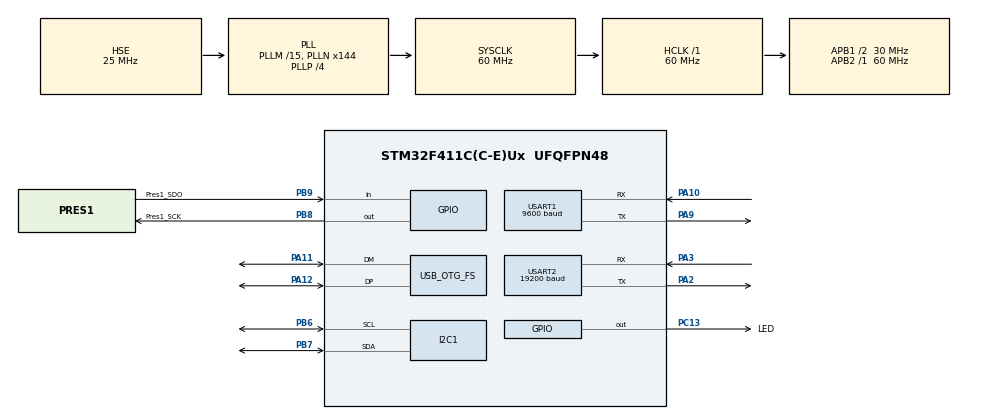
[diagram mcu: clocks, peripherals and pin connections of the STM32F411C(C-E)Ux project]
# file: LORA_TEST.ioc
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Mcu.Family=STM32F4
PC15-OSC32_OUT.Mode=LSE-External-Oscillator
USB_DEVICE.CLASS_NAME_FS=CDC
RCC.CortexFreq_Value=60000000
PB9.GPIO_Label=Pres1_SDO
PA10.Mode=Asynchronous
USB_DEVICE.VirtualModeFS=Cdc_FS
PC13-ANTI_TAMP.GPIO_Label=LED
USART1.BaudRate=9600
PH1\ -\ OSC_OUT.Mode=HSE-External-Oscillator
PB8.GPIO_PuPd=GPIO_PULLUP
VP_RTC_VS_RTC_Activate.Mode=RTC_Enabled
PA11.Mode=Device_Only
RCC.APB1CLKDivider=RCC_HCLK_DIV2
PC14-OSC32_IN.Signal=RCC_OSC32_IN
NVIC.USART2_IRQn=true\:0\:0\:false\:false\:true\:true\:true
USART2.BaudRate=19200
RCC.SYSCLKSource=RCC_SYSCLKSOURCE_PLLCLK
ProjectManager.StackSize=0x400
PA3.Mode=Asynchronous
PB8.GPIO_Label=Pres1_SCK
PA9.Mode=Asynchronous
PA12.Signal=USB_OTG_FS_DP
PH0\ -\ OSC_IN.Mode=HSE-External-Oscillator
TIM1.Prescaler=72-1
PH0\ -\ OSC_IN.Signal=RCC_OSC_IN
ProjectManager.TargetToolchain=STM32CubeIDE
USB_DEVICE.PRODUCT_STRING_CDC_FS=Widya_Imersif
RCC.RCC_RTC_Clock_Source=RCC_RTCCLKSOURCE_LSE
RCC.HCLKFreq_Value=60000000
VP_USB_DEVICE_VS_USB_DEVICE_CDC_FS.Mode=CDC_FS
RCC.APB2TimFreq_Value=60000000
PA9.Signal=USART1_TX
PB6.Signal=I2C1_SCL
PB6.Mode=I2C
PC15-OSC32_OUT.Signal=RCC_OSC32_OUT
RCC.AHBFreq_Value=60000000
RCC.HSE_VALUE=25000000
RCC.MSICalibrationValue=0
PH1\ -\ OSC_OUT.Signal=RCC_OSC_OUT
board=custom
PC13-ANTI_TAMP.Signal=GPIO_Output
RCC.VCOOutputFreq_Value=240000000
RCC.APB2Freq_Value=60000000
PC14-OSC32_IN.Mode=LSE-External-Oscillator
RCC.LSE_Drive_Capability=RCC_LSEDRIVE_LOW
PB8.PinState=GPIO_PIN_RESET
RCC.RCC_RTC_Clock_SourceVirtual=RCC_RTCCLKSOURCE_LSE
PB7.Signal=I2C1_SDA
USB_OTG_FS.Sof_enable=ENABLE
Mcu.Name=STM32F411C(C-E)Ux
VP_TIM1_VS_ClockSourceINT.Mode=Internal
PA2.Signal=USART2_TX
RCC.48MHZClocksFreq_Value=48000000
RCC.SYSCLKFreq_VALUE=60000000
Mcu.Package=UFQFPN48
PB9.Signal=GPIO_Input
PA12.Mode=Device_Only
USART2.VirtualMode=VM_ASYNC
NVIC.OTG_FS_IRQn=true\:0\:0\:false\:false\:true\:true\:true
USART1.VirtualMode=VM_ASYNC
PB7.Mode=I2C
PA11.Signal=USB_OTG_FS_DM
PA10.Signal=USART1_RX
PB9.GPIO_PuPd=GPIO_PULLUP
USB_OTG_FS.VirtualMode=Device_Only
ProjectManager.HeapSize=0x200
RCC.HSI_VALUE=16000000
RCC.PLLP=RCC_PLLP_DIV4
RCC.PLLQ=5
NVIC.PriorityGroup=NVIC_PRIORITYGROUP_4
RCC.PLLM=15
RCC.PLLN=144
RCC.APB1TimFreq_Value=60000000
PB8.Signal=GPIO_Output
PA2.Mode=Asynchronous
TIM1.Period=0xffff-1
RCC.MSIAutoCalibration=DISABLED
NVIC.USART1_IRQn=true\:0\:0\:false\:false\:true\:true\:true
RCC.APB1Freq_Value=30000000
PB8.GPIO_Speed=GPIO_SPEED_FREQ_LOW
USB_DEVICE.VirtualMode=Cdc
USB_DEVICE.USBD_DEBUG_LEVEL=0
PA3.Signal=USART2_RX

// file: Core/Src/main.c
/* USER CODE BEGIN Header */
/**
  ******************************************************************************
  * @file           : main.c
  * @brief          : Main program body
  ******************************************************************************
  * @attention
  *
  * <h2><center>&copy; Copyright (c) 2021 STMicroelectronics.
  * All rights reserved.</center></h2>
  *
  * This software component is licensed by ST under BSD 3-Clause license,
  * the "License"; You may not use this file except in compliance with the
  * License. You may obtain a copy of the License at:
  *                        opensource.org/licenses/BSD-3-Clause
  *
  ******************************************************************************
  */
/* USER CODE END Header */
#include "main.h"
#include "usb_device.h"

/* USER CODE BEGIN Includes */
#include "BASIC_LOGIC.h"
#include "HX710B.h"
#include "AHT10.h"
#include "E32_915T30.h"

#include "SGP40.h"

#include "nextion.h"

#include "SerialUSB.h"
#include "HALSerial.h"

/* USER CODE END Includes */

I2C_HandleTypeDef hi2c1;

RTC_HandleTypeDef hrtc;

TIM_HandleTypeDef htim1;

UART_HandleTypeDef huart1;
UART_HandleTypeDef huart2;

void SystemClock_Config(void);
static void MX_GPIO_Init(void);
static void MX_USART1_UART_Init(void);
static void MX_TIM1_Init(void);
static void MX_RTC_Init(void);
static void MX_I2C1_Init(void);
static void MX_USART2_UART_Init(void);
/* USER CODE BEGIN PFP */
char * getUUID(char * buff)
{
	union {
	  uint32_t w[3];
	  uint8_t b[12];
	} uid;
	uid.w[0] = HAL_GetUIDw0();
	uid.w[1] = HAL_GetUIDw1();
	uid.w[2] = HAL_GetUIDw2();
	sprintf(buff, "%02X%02X%02X%02X%02X%02X", uid.b[11], uid.b[10] + uid.b[2], uid.b[9], uid.b[8] + uid.b[0], uid.b[7], uid.b[6]);
	return buff;
}

char* ftoa(float f, char * buf, int precision)
{
	char * ptr = buf;
	char * p = ptr;
	char * p1;
	char c;
	long intPart;
	if (precision > MAX_PRECISION)		// check precision bounds
		precision = MAX_PRECISION;
	if (f < 0) {		// sign stuff
		f = -f;
		*ptr++ = '-';
	}
	if (precision < 0) {  // negative precision == automatic precision guess
		if (f < 1.0) precision = 4;
		else if (f < 10.0) precision = 3;
		else if (f < 100.0) precision = 2;
		else if (f < 1000.0) precision = 1;
		else precision = 0;
	}
	if (precision)  	// round value according the precision
		f += rounders[precision];
	// integer part...
	intPart = f;
	f -= intPart;
	if (!intPart)
		*ptr++ = '0';
	else
	{
		p = ptr;	// save start pointer
		while (intPart) { // convert (reverse order)
			*p++ = '0' + intPart % 10;
			intPart /= 10;
		}
		p1 = p;  // save end pos
		while (p > ptr)	{ // reverse result
			c = *--p;
			*p = *ptr;
			*ptr++ = c;
		}
		ptr = p1;	// restore end pos
	}
	if (precision) {	// decimal part
		*ptr++ = '.';	// place decimal point
		while (precision--)	 { // convert
			f *= 10.0;
			c = f;
			*ptr++ = '0' + c;
			f -= c;
		}
	}
	*ptr = 0;	// terminating zero
	return buf;
}
/* USER CODE END PFP */

/* USER CODE BEGIN 0 */
void b0PopCallback(void *ptr)
{
	char buffer[100] = {0};
    uint16_t len;
    uint16_t number;
    NexObject_var *btn = (NexObject_var *)ptr;
    memset(buffer, 0, sizeof(buffer));

    /* Get the text value of button component [the value is string type]. */
    NexButton.getText(btn, buffer, 100);
    USBSerial.print(buffer);
//    btn->getText(buffer, sizeof(buffer));?

    number = atoi(buffer);
    number += 1;

    memset(buffer, 0, sizeof(buffer));
    itoa(number, buffer, 10);

    /* Set the text value of button component [the value is string type]. */
    NexButton.setText(btn,buffer);
    HAL_Delay(1000);
//    btn->setText(buffer);
}

/* USER CODE END 0 */

int main(void)
{

  /* MCU Configuration--------------------------------------------------------*/

  /* Reset of all peripherals, Initializes the Flash interface and the Systick. */
  HAL_Init();

  /* Configure the system clock */
  SystemClock_Config();

  /* Initialize all configured peripherals */
  MX_GPIO_Init();
  MX_USART1_UART_Init();
  MX_TIM1_Init();
  MX_RTC_Init();
  MX_USB_DEVICE_Init();
  MX_I2C1_Init();
  MX_USART2_UART_Init();

  /* Infinite loop */
  /* USER CODE BEGIN WHILE */
  PORT_IO LED_pin_ = {
		  .port = LED_GPIO_Port,
		  .pin = LED_Pin,
  };
  PORT_IO SDI_ = {
		  .port = Pres1_SDO_GPIO_Port,
		  .pin  = Pres1_SDO_Pin,
  };
  PORT_IO SCK_ = {
		  .port = Pres1_SCK_GPIO_Port,
		  .pin = Pres1_SCK_Pin,
  };
  HX710B_var pressure_sensor1;
  SGP40_var VOC_sensor;
  SGP40.halt = HAL_Delay;

  USBSerial.begin();
  Serial1.begin(9600);
  delay_microsInit();
  HX710B.halt = delay_microSeconds;
  HX710B.init(&pressure_sensor1,SCK_, SDI_, MODE_DIFF1);
//  HX710B.init(&pressure_sensor1,SDI_, SCK_);

  AHT10.halt = HAL_Delay;
  AHT10.getTick = HAL_GetTick;
  AHT10_var AHT1;
  AHT10.begin(&AHT1, &hi2c1,0x38);

  SGP40.begin(&VOC_sensor, &hi2c1,DFRobot_SGP40_ICC_ADDR, 10000UL);
  char txt[20]="halloooo \n";
  char tmp[64];

  NexObject_var button_nextion;
  NexHardware.nex_serial = &Serial1;
  NexHardware.delay = HAL_Delay;
  NexButton.create(&button_nextion, 0, 1, "b0");
  NexObject_var *nex_listen_list[] =
  {
      &button_nextion,
      NULL
  };
  NexHardware.init();
//  NexButton.setText(&button_nextion, (const char*)"1");
  NexObject.attachPop(&button_nextion,b0PopCallback, &button_nextion);
  uint8_t num=0;
  while (1)
  {
    /* USER CODE END WHILE */

    /* USER CODE BEGIN 3 */
	  NexHardware.loop(nex_listen_list);
	  char num_val[10];
	  sprintf(num_val, "nilai %d", num);
	  if(NexButton.setText(&button_nextion, (const char*)num_val) )
		  USBSerial.print((const char*)"success\r\n");
	  num++;
//	  if ( USBSerial.peek() >= (USB_OTG_FS_MAX_PACKET_SIZE/2) )
//	  	  USBSerial.flush();
//	  USBSerial.puts((uint8_t*)txt,strlen(txt));
/*	  int press_adc = 0;
	  if ( HX710B.read(&pressure_sensor1,&press_adc, 1000) == HX710B_OK )
	  {
//		  uint32_t press_offset = 7240000;
		  sprintf(tmp,"value sensor = %i \n\r",press_adc);
		  USBSerial.puts((uint8_t*)tmp, strlen(tmp));
//		  float scale = press_adc * (-0.000018);
//		  sprintf(tmp,"voltage = %i \n\r",scale*1E+6);
//		  USBSerial.puts((uint8_t*)tmp, strlen(tmp));
	  }

	  if( AHT10.getEvent(&AHT1, 100UL) == AHT10_OK )
	  {
		  sprintf(tmp,"AHT ada \n\r");
		  USBSerial.puts((uint8_t*)tmp, strlen(tmp));
		  char val[10];
		  sprintf(tmp, "temperature %s", ftoa(AHT1.temperature, val, 3));
		  USBSerial.puts((uint8_t*)tmp, strlen(tmp));
	  }
	  uint16_t voc_index = 0;
	  if ( SGP40.getVOCIndex(&VOC_sensor, &voc_index, 1000) == SGP40_OK )
	  {
		  sprintf(tmp, "VOC = %i \n\r", voc_index);
		  USBSerial.puts((uint8_t*)tmp, strlen(tmp));
	  }
*/
	  HAL_Delay(5000);
	  digitalToggle(LED_pin_);
//	  while(Serial1.available() > 0)
//	  {
//		  size_t n_ = Serial1.available();
//		  uint8_t tBuf[n_];
//		  Serial1.gets(tBuf,n_);
//		  char buffer_t[n_ + 10];
//		  sprintf( buffer_t, "n = ");
//		  for ( int i=0; i< n_; i++)
//		  {
//			  char cat_[5];
//			  sprintf(cat_, "%02x", tBuf[i]);
//			  strcat(buffer_t, cat_);
//		  }
//		  strcat( buffer_t, (const char*) "\r\n");
//		  USBSerial.puts(buffer_t, strlen(buffer_t));
////		  USBSerial.flush();
////		  USBSerial.puts((uint8_t*)tBuf, strlen(tBuf));
//
//	  }
  }
  /* USER CODE END 3 */
}

void SystemClock_Config(void)
{
  RCC_OscInitTypeDef RCC_OscInitStruct = {0};
  RCC_ClkInitTypeDef RCC_ClkInitStruct = {0};
  RCC_PeriphCLKInitTypeDef PeriphClkInitStruct = {0};

  /** Configure the main internal regulator output voltage
  */
  __HAL_RCC_PWR_CLK_ENABLE();
  __HAL_PWR_VOLTAGESCALING_CONFIG(PWR_REGULATOR_VOLTAGE_SCALE1);
  /** Initializes the RCC Oscillators according to the specified parameters
  * in the RCC_OscInitTypeDef structure.
  */
  RCC_OscInitStruct.OscillatorType = RCC_OSCILLATORTYPE_HSE|RCC_OSCILLATORTYPE_LSE;
  RCC_OscInitStruct.HSEState = RCC_HSE_ON;
  RCC_OscInitStruct.LSEState = RCC_LSE_ON;
  RCC_OscInitStruct.PLL.PLLState = RCC_PLL_ON;
  RCC_OscInitStruct.PLL.PLLSource = RCC_PLLSOURCE_HSE;
  RCC_OscInitStruct.PLL.PLLM = 15;
  RCC_OscInitStruct.PLL.PLLN = 144;
  RCC_OscInitStruct.PLL.PLLP = RCC_PLLP_DIV4;
  RCC_OscInitStruct.PLL.PLLQ = 5;
  if (HAL_RCC_OscConfig(&RCC_OscInitStruct) != HAL_OK)
  {
    Error_Handler();
  }
  /** Initializes the CPU, AHB and APB buses clocks
  */
  RCC_ClkInitStruct.ClockType = RCC_CLOCKTYPE_HCLK|RCC_CLOCKTYPE_SYSCLK
                              |RCC_CLOCKTYPE_PCLK1|RCC_CLOCKTYPE_PCLK2;
  RCC_ClkInitStruct.SYSCLKSource = RCC_SYSCLKSOURCE_PLLCLK;
  RCC_ClkInitStruct.AHBCLKDivider = RCC_SYSCLK_DIV1;
  RCC_ClkInitStruct.APB1CLKDivider = RCC_HCLK_DIV2;
  RCC_ClkInitStruct.APB2CLKDivider = RCC_HCLK_DIV1;

  if (HAL_RCC_ClockConfig(&RCC_ClkInitStruct, FLASH_LATENCY_1) != HAL_OK)
  {
    Error_Handler();
  }
  PeriphClkInitStruct.PeriphClockSelection = RCC_PERIPHCLK_RTC;
  PeriphClkInitStruct.RTCClockSelection = RCC_RTCCLKSOURCE_LSE;
  if (HAL_RCCEx_PeriphCLKConfig(&PeriphClkInitStruct) != HAL_OK)
  {
    Error_Handler();
  }
}

static void MX_I2C1_Init(void)
{

  hi2c1.Instance = I2C1;
  hi2c1.Init.ClockSpeed = 100000;
  hi2c1.Init.DutyCycle = I2C_DUTYCYCLE_2;
  hi2c1.Init.OwnAddress1 = 0;
  hi2c1.Init.AddressingMode = I2C_ADDRESSINGMODE_7BIT;
  hi2c1.Init.DualAddressMode = I2C_DUALADDRESS_DISABLE;
  hi2c1.Init.OwnAddress2 = 0;
  hi2c1.Init.GeneralCallMode = I2C_GENERALCALL_DISABLE;
  hi2c1.Init.NoStretchMode = I2C_NOSTRETCH_DISABLE;
  if (HAL_I2C_Init(&hi2c1) != HAL_OK)
  {
    Error_Handler();
  }

}

static void MX_RTC_Init(void)
{

  /** Initialize RTC Only
  */
  hrtc.Instance = RTC;
  hrtc.Init.HourFormat = RTC_HOURFORMAT_24;
  hrtc.Init.AsynchPrediv = 127;
  hrtc.Init.SynchPrediv = 255;
  hrtc.Init.OutPut = RTC_OUTPUT_DISABLE;
  hrtc.Init.OutPutPolarity = RTC_OUTPUT_POLARITY_HIGH;
  hrtc.Init.OutPutType = RTC_OUTPUT_TYPE_OPENDRAIN;
  if (HAL_RTC_Init(&hrtc) != HAL_OK)
  {
    Error_Handler();
  }

}

static void MX_TIM1_Init(void)
{

  TIM_ClockConfigTypeDef sClockSourceConfig = {0};
  TIM_MasterConfigTypeDef sMasterConfig = {0};

  htim1.Instance = TIM1;
  htim1.Init.Prescaler = 72-1;
  htim1.Init.CounterMode = TIM_COUNTERMODE_UP;
  htim1.Init.Period = 0xffff-1;
  htim1.Init.ClockDivision = TIM_CLOCKDIVISION_DIV1;
  htim1.Init.RepetitionCounter = 0;
  htim1.Init.AutoReloadPreload = TIM_AUTORELOAD_PRELOAD_DISABLE;
  if (HAL_TIM_Base_Init(&htim1) != HAL_OK)
  {
    Error_Handler();
  }
  sClockSourceConfig.ClockSource = TIM_CLOCKSOURCE_INTERNAL;
  if (HAL_TIM_ConfigClockSource(&htim1, &sClockSourceConfig) != HAL_OK)
  {
    Error_Handler();
  }
  sMasterConfig.MasterOutputTrigger = TIM_TRGO_RESET;
  sMasterConfig.MasterSlaveMode = TIM_MASTERSLAVEMODE_DISABLE;
  if (HAL_TIMEx_MasterConfigSynchronization(&htim1, &sMasterConfig) != HAL_OK)
  {
    Error_Handler();
  }

}

static void MX_USART1_UART_Init(void)
{

  huart1.Instance = USART1;
  huart1.Init.BaudRate = 9600;
  huart1.Init.WordLength = UART_WORDLENGTH_8B;
  huart1.Init.StopBits = UART_STOPBITS_1;
  huart1.Init.Parity = UART_PARITY_NONE;
  huart1.Init.Mode = UART_MODE_TX_RX;
  huart1.Init.HwFlowCtl = UART_HWCONTROL_NONE;
  huart1.Init.OverSampling = UART_OVERSAMPLING_16;
  if (HAL_UART_Init(&huart1) != HAL_OK)
  {
    Error_Handler();
  }

}

static void MX_USART2_UART_Init(void)
{

  huart2.Instance = USART2;
  huart2.Init.BaudRate = 19200;
  huart2.Init.WordLength = UART_WORDLENGTH_8B;
  huart2.Init.StopBits = UART_STOPBITS_1;
  huart2.Init.Parity = UART_PARITY_NONE;
  huart2.Init.Mode = UART_MODE_TX_RX;
  huart2.Init.HwFlowCtl = UART_HWCONTROL_NONE;
  huart2.Init.OverSampling = UART_OVERSAMPLING_16;
  if (HAL_UART_Init(&huart2) != HAL_OK)
  {
    Error_Handler();
  }

}

static void MX_GPIO_Init(void)
{
  GPIO_InitTypeDef GPIO_InitStruct = {0};

  /* GPIO Ports Clock Enable */
  __HAL_RCC_GPIOC_CLK_ENABLE();
  __HAL_RCC_GPIOH_CLK_ENABLE();
  __HAL_RCC_GPIOA_CLK_ENABLE();
  __HAL_RCC_GPIOB_CLK_ENABLE();

  /*Configure GPIO pin Output Level */
  HAL_GPIO_WritePin(LED_GPIO_Port, LED_Pin, GPIO_PIN_RESET);

  /*Configure GPIO pin Output Level */
  HAL_GPIO_WritePin(Pres1_SCK_GPIO_Port, Pres1_SCK_Pin, GPIO_PIN_RESET);

  /*Configure GPIO pin : LED_Pin */
  GPIO_InitStruct.Pin = LED_Pin;
  GPIO_InitStruct.Mode = GPIO_MODE_OUTPUT_PP;
  GPIO_InitStruct.Pull = GPIO_NOPULL;
  GPIO_InitStruct.Speed = GPIO_SPEED_FREQ_LOW;
  HAL_GPIO_Init(LED_GPIO_Port, &GPIO_InitStruct);

  /*Configure GPIO pin : Pres1_SCK_Pin */
  GPIO_InitStruct.Pin = Pres1_SCK_Pin;
  GPIO_InitStruct.Mode = GPIO_MODE_OUTPUT_PP;
  GPIO_InitStruct.Pull = GPIO_PULLUP;
  GPIO_InitStruct.Speed = GPIO_SPEED_FREQ_LOW;
  HAL_GPIO_Init(Pres1_SCK_GPIO_Port, &GPIO_InitStruct);

  /*Configure GPIO pin : Pres1_SDO_Pin */
  GPIO_InitStruct.Pin = Pres1_SDO_Pin;
  GPIO_InitStruct.Mode = GPIO_MODE_INPUT;
  GPIO_InitStruct.Pull = GPIO_PULLUP;
  HAL_GPIO_Init(Pres1_SDO_GPIO_Port, &GPIO_InitStruct);

}

void Error_Handler(void)
{
  __disable_irq();
  while (1)
  {
  }
}

/************************ (C) COPYRIGHT STMicroelectronics *****END OF FILE****/
